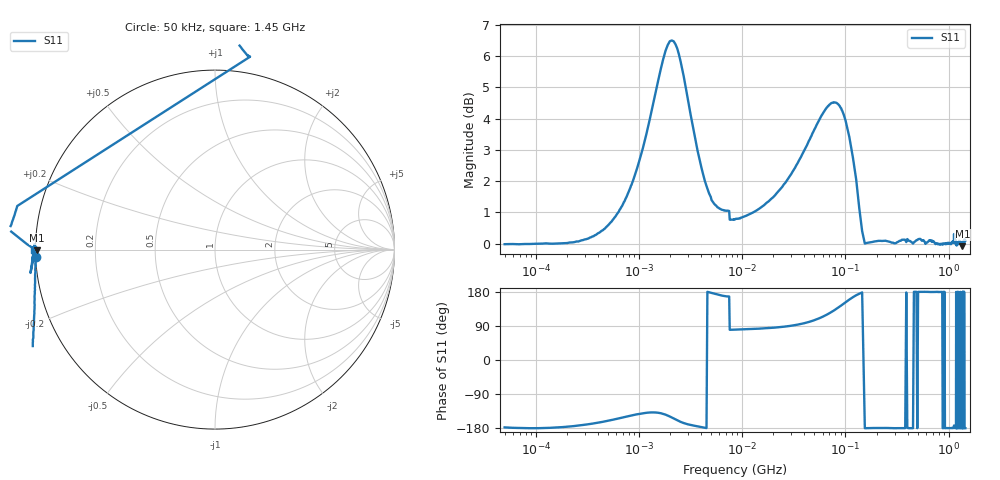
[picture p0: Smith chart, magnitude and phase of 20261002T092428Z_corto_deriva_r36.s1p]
! piloto_deriva / corto_deriva / r36
# HZ S RI R 50
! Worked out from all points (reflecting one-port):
!   501 points, 50 kHz to 1.45 GHz, reference 50 ohm
!   lowest |S11| = -0.1 dB at 1.355 GHz (marker M1), VSWR 212.14, Z = 0.236 - j0.108 ohm
!   phase of S11 starts at -178 deg and turns -2 deg over the sweep
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50000  -0.9972 -0.0385
183000  -1 -0.0517
373000  -1.004 -0.2336
658000  -1.014 -0.5107
1180000  -1.135 -0.9758
1630000  -1.47 -1.212
1990000  -1.809 -1.081
2170000  -1.898 -0.9153
2440000  -1.901 -0.6448
3070000  -1.632 -0.271
4330000  -1.262 -0.0297
7300000  -1.102 0.2417
7750000  0.1941 1.075
8560000  0.187 1.078
1.9e7  0.1097 1.173
3.16e7  -0.0347 1.313
4.69e7  -0.3226 1.453
6.76e7  -0.8597 1.42
8.02e7  -1.158 1.219
9.46e7  -1.364 0.8769
9.82e7  -1.383 0.7819
1e8  -1.392 0.7388
1.18e8  -1.331 0.3399
1.36e8  -1.135 0.1003
1.63e8  -1.003 -0.00436
4.06e8  -1.013 -0.00277
1.3555e9  -0.9906 -0.00429
1.45e9  -1.011 -0.00266
